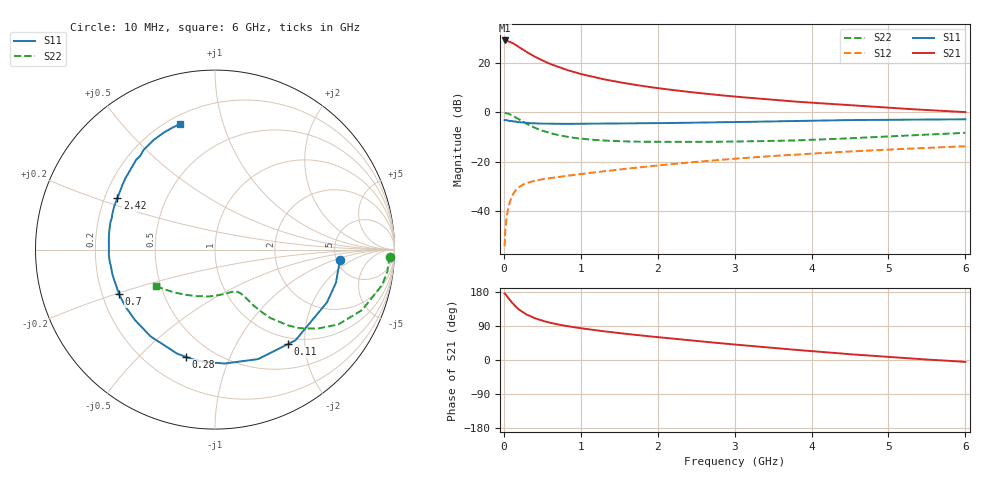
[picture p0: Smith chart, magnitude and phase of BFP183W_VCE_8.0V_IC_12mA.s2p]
! Infineon Technologies  Discrete & RF Semiconductors
! BFP183W
! VCE = 8.0 V,  IC =  12 mA
! Common Emitter S-Parameters:  Jan 2016
# GHz  S  MA  R  50
!  f  S11  S21  S12  S22
! GHz  MAG  ANG  MAG  ANG  MAG  ANG  MAG  ANG
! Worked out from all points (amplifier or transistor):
!   210 points, 10 MHz to 6 GHz, reference 50 ohm
!   highest |S21| = 29.3 dB at 10 MHz (marker M1)
!   |S21| within 3 dB of that: start of sweep to 212.4 MHz
!   unconditionally stable (mu >= 1): 1.307 GHz to 5.519 GHz
!   at 185 MHz: K = 0.24, MSG = 28.8 dB, |S12| = -30.8 dB
!   at 1.52 GHz: K = 1.05, MAG = 16.3 dB, |S12| = -23.2 dB
!   at 6 GHz: K = 0.97, MSG = 7.0 dB, |S12| = -13.8 dB
!   S11 on the Smith chart (normalised r, x): 10 MHz: 5.37, -1.23; 110 MHz: 0.89, -1.67; 280 MHz: 0.36, -0.70; 700 MHz: 0.27, -0.21; 2.42 GHz: 0.25, +0.23; 6 GHz: 0.25, +0.73
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0.01  0.6999 -4.8  29.19 175.7  0.0019 88.3  0.9773 -2.3
0.03  0.6988 -15.2  29.07 171.2  0.0061 84.2  0.9683 -7.2
0.05  0.6898 -25.2  28.46 165.5  0.01 77.6  0.9521 -11.9
0.1  0.6756 -48.4  26.48 152.9  0.0188 68.2  0.886 -22.3
0.11  0.6652 -52.3  25.89 150.8  0.0201 66.3  0.8681 -23.9
0.15  0.6557 -68.5  23.94 141.6  0.0256 60.6  0.8042 -31.2
0.2  0.6371 -85.2  21.27 132.6  0.0304 54.4  0.7215 -37.6
0.28  0.6189 -105.4  17.66 122.1  0.0358 47.6  0.6097 -44.7
0.3  0.6172 -109.9  16.84 119.5  0.0369 46.5  0.5843 -46.2
0.4  0.6022 -126.6  13.68 110.4  0.0406 42.7  0.4902 -51.0
0.42  0.5985 -129.0  13.22 109.2  0.0412 42.4  0.4772 -51.5
0.5  0.5941 -138.6  11.42 103.6  0.0437 41.3  0.4257 -53.6
0.6  0.5915 -147.6  9.74 98.3  0.046 40.6  0.3804 -55.3
0.7  0.5897 -155.0  8.526 94.0  0.0483 40.9  0.3478 -56.3
1.02  0.5876 -171.1  5.967 83.4  0.0562 43.0  0.2913 -59.1
1.4  0.593 176.3  4.412 73.4  0.0663 45.6  0.2644 -62.6
2.02  0.6059 160.6  3.099 59.8  0.0839 48.1  0.2524 -70.7
2.42  0.6153 152.2  2.601 51.7  0.0962 48.1  0.2519 -77.4
3.1  0.6412 139.7  2.044 39.2  0.1176 46.6  0.257 -90.4
4.1  0.6856 124.5  1.544 21.9  0.1483 42.5  0.2807 -113.1
5.1  0.7123 113.0  1.216 6.8  0.1782 37.3  0.3306 -134.2
6  0.7264 105.6  1.018 -5.0  0.2052 32.9  0.3852 -147.9
